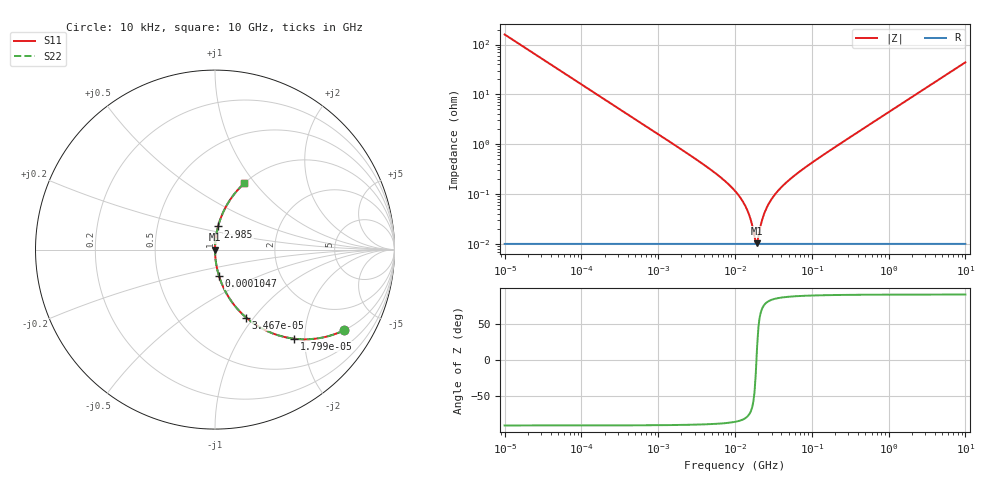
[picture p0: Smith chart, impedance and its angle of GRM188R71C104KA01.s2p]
! Touchstone 2-port S-parameters  (series-through model)
! Part: GRM188R71C104KA01
! Generated: 2026-06-14 22:47 UTC  by s2p tool
! Reference impedance: 50.0 Ohm
! ESL computed from case 0603: 0.700 nH; SRF computed = 19.02 MHz [GEOMETRY ESTIMATE]
! ESR unknown -> default 10 mOhm [PHYSICS ESTIMATE, low confidence]
! ESTIMATED / behavioral model - NOT manufacturer-measured data.
# Hz S RI R 50
! freq  ReS11  ImS11  ReS21  ImS21  ReS12  ImS12  ReS22  ImS22
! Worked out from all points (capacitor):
!   521 points, 10 kHz to 10 GHz, reference 50 ohm
!   read as one part in series: C = 100 nF near 10.72 kHz
!   lowest |Z| = 10.2 mohm at 19.28 MHz (marker M1)
!   series resonance near 19.03 MHz, so ESL is about 700 pH
!   S11 on the Smith chart (normalised r, x): 10 kHz: 1.00, -3.18; 17.99 kHz: 1.00, -1.77; 34.67 kHz: 1.00, -0.92; 104.7 kHz: 1.00, -0.30; 2.985 GHz: 1.00, +0.26; 10 GHz: 1.00, +0.88
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10000  0.7169 -0.4505  0.2831 0.4505  0.2831 0.4505  0.7169 -0.4505
17988.71  0.4391 -0.4962  0.5609 0.4962  0.5609 0.4962  0.4391 -0.4962
34673.69  0.1741 -0.3791  0.8259 0.3791  0.8259 0.3791  0.1741 -0.3791
101157.9  0.0242 -0.1535  0.9758 0.1535  0.9758 0.1535  0.0242 -0.1535
104712.9  0.0227 -0.1485  0.9773 0.1485  0.9773 0.1485  0.0227 -0.1485
266072.5  0.00366 -0.0596  0.9963 0.0596  0.9963 0.0596  0.00366 -0.0596
1023293  0.00034 -0.0155  0.9997 0.0155  0.9997 0.0155  0.00034 -0.0155
5005404  0.000109 -0.00296  0.9999 0.00296  0.9999 0.00296  0.000109 -0.00296
1e7  0.000101 -0.00115  0.9999 0.00115  0.9999 0.00115  0.000101 -0.00115
1.412538e7  0.0001 -0.000505  0.9999 0.000505  0.9999 0.000505  0.0001 -0.000505
1.661298e7  0.0001 -0.000227  0.9999 0.000227  0.9999 0.000227  0.0001 -0.000227
1.794986e7  0.0001 -9.72e-05  0.9999 9.72e-05  0.9999 9.72e-05  0.0001 -9.72e-05
1.798871e7  0.0001 -9.35e-05  0.9999 9.35e-05  0.9999 9.35e-05  0.0001 -9.35e-05
1.927525e7  0.0001 2.21e-05  0.9999 -2.21e-05  0.9999 -2.21e-05  0.0001 2.21e-05
2.371374e7  0.0001 0.000372  0.9999 -0.000372  0.9999 -0.000372  0.0001 0.000372
3.126079e7  0.000101 0.000866  0.9999 -0.000866  0.9999 -0.000866  0.000101 0.000866
4.731513e7  0.000103 0.00174  0.9999 -0.00174  0.9999 -0.00174  0.000103 0.00174
1.011579e8  0.000118 0.00429  0.9999 -0.00429  0.9999 -0.00429  0.000118 0.00429
1.023293e9  0.00212 0.0449  0.9979 -0.0449  0.9979 -0.0449  0.00212 0.0449
2.985383e9  0.017 0.129  0.983 -0.129  0.983 -0.129  0.017 0.129
5.754399e9  0.0603 0.2378  0.9397 -0.2378  0.9397 -0.2378  0.0603 0.2378
1e10  0.1621 0.3685  0.8379 -0.3685  0.8379 -0.3685  0.1621 0.3685
